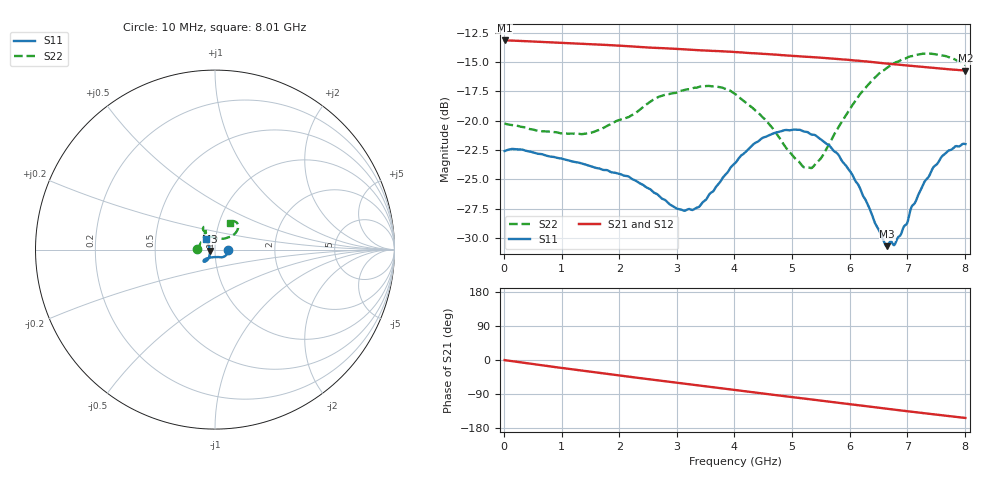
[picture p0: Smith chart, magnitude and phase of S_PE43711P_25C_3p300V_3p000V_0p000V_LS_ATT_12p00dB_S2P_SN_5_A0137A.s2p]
! Device ID: PE43711P
! File Path: z:\PE43711P\CHAR_NOM_04282014\AMB\3p300\LS_ATT_12p00dB\PE43711P_AMB_3p300V_3p000V_0p000V_LS_ATT_12p00dB_S2P_SN_5_A0137A.s2p
! Serial: 5
! Lot: A0137A
! Temp: 25C
! VDD: 3.300
! VSS: 0.000
! Control_Hi: 3.000
! Control_Lo: 0.000
! Attenuation Step: 12.00dB
! Port 1: RF1
! Port 2: RF2
! ThroughPath:1-2
! IDD: 0.00012774
! ISS: -1.744e-007
#  Hz  S  RI  R  50
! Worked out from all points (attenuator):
!   801 points, 10 MHz to 8.01 GHz, reference 50 ohm
!   highest |S21| = -13.15 dB at 10 MHz (marker M1); lowest = -15.7 dB at 8.01 GHz (marker M2)
!   lowest |S11| = -30.7 dB at 6.65 GHz (marker M3), VSWR 1.06, Z = 47.3 - j0.7 ohm
!   |S11| at or under -10 dB: start of sweep to end of sweep
!   |S22| runs from -24.0 to -14.3 dB; largest |S21 - S12| = 0.00046
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1e7  0.0742 -7.18e-05  0.2202 -0.00105  0.2204 -0.00116  -0.0975 0.000798
3.1e8  0.0744 -0.0118  0.2175 -0.026  0.2177 -0.026  -0.0937 0.00888
1.35e9  0.0541 -0.0373  0.1884 -0.0998  0.1885 -0.0999  -0.0745 0.0462
2.15e9  0.0382 -0.0436  0.1504 -0.1438  0.1505 -0.1439  -0.0572 0.0861
2.68e9  0.0237 -0.0419  0.1207 -0.165  0.1208 -0.165  -0.0534 0.1146
3.01e9  0.00974 -0.041  0.1009 -0.1757  0.1009 -0.1758  -0.0545 0.1206
3.3e9  -0.00487 -0.0416  0.0827 -0.1827  0.0827 -0.1828  -0.0578 0.1255
3.69e9  -0.0278 -0.0447  0.0581 -0.1896  0.0581 -0.1896  -0.0649 0.124
4.01e9  -0.0447 -0.0484  0.037 -0.193  0.0369 -0.1931  -0.0668 0.1117
4.34e9  -0.0581 -0.0546  0.0155 -0.1935  0.0155 -0.1936  -0.056 0.097
4.69e9  -0.0635 -0.0617  -0.00685 -0.1915  -0.00694 -0.1915  -0.0391 0.082
5.18e9  -0.0598 -0.0679  -0.0366 -0.1844  -0.0367 -0.1844  -0.000105 0.0642
5.35e9  -0.0565 -0.0664  -0.0466 -0.181  -0.0466 -0.1812  0.0179 0.0605
5.65e9  -0.0473 -0.0624  -0.0637 -0.1735  -0.0637 -0.1735  0.051 0.0615
6.01e9  -0.0362 -0.0488  -0.0823 -0.1619  -0.0826 -0.1619  0.0865 0.0725
6.33e9  -0.0305 -0.0306  -0.0973 -0.1499  -0.0974 -0.15  0.1115 0.0897
6.65e9  -0.0282 -0.0074  -0.11 -0.1365  -0.1101 -0.1367  0.1257 0.112
6.68e9  -0.0295 -0.00493  -0.1111 -0.1355  -0.1112 -0.1356  0.1263 0.1145
6.87e9  -0.0313 0.00762  -0.1177 -0.1271  -0.1177 -0.1273  0.1291 0.1262
7.46e9  -0.0444 0.0455  -0.1349 -0.1004  -0.1349 -0.1004  0.1138 0.1554
7.7e9  -0.0495 0.055  -0.1401 -0.0891  -0.1401 -0.089  0.1005 0.1586
8.01e9  -0.051 0.0611  -0.1458 -0.0746  -0.146 -0.0741  0.086 0.1502
